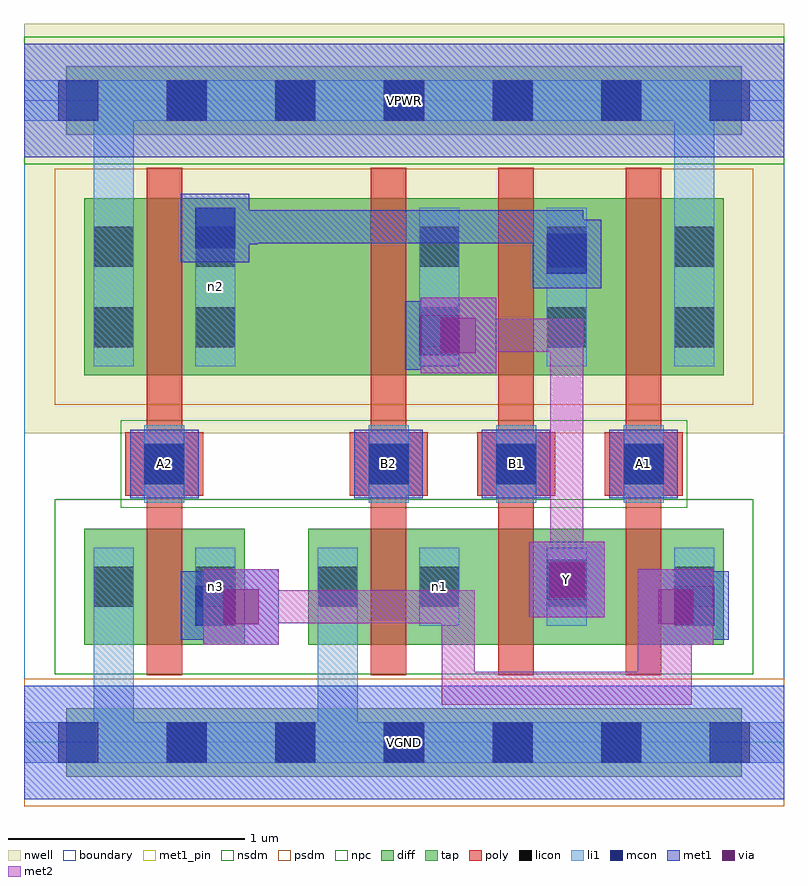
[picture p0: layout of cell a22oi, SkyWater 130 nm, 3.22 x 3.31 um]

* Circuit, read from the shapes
.subckt a22oi A1 A2 B1 B2 VGND VPWR Y n1 n2 n3
XM1 n3 A2 VGND VGND sky130_fd_pr__nfet_01v8 w=0.49 l=0.15
XM2 n1 B2 VGND VGND sky130_fd_pr__nfet_01v8 w=0.49 l=0.15
XM3 Y B1 n1 VGND sky130_fd_pr__nfet_01v8 w=0.49 l=0.15
XM4 n3 A1 Y VGND sky130_fd_pr__nfet_01v8 w=0.49 l=0.15
XM5 n2 A2 VPWR VPWR sky130_fd_pr__pfet_01v8 w=0.75 l=0.15
XM6 Y B2 n2 VPWR sky130_fd_pr__pfet_01v8 w=0.75 l=0.15
XM7 n2 B1 Y VPWR sky130_fd_pr__pfet_01v8 w=0.75 l=0.15
XM8 VPWR A1 n2 VPWR sky130_fd_pr__pfet_01v8 w=0.75 l=0.15
.ends

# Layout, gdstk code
import gdstk
lib = gdstk.Library(unit=1e-6, precision=1e-09)
def R(c, l, rs):  # rectangles x0, y0, x1, y1
    for r in rs: c.add(gdstk.rectangle(r[:2], r[2:], *l))
def A(c, l, x, y, w, h, nx, ny, dx, dy):  # array of equal rectangles
    R(c, l, [(x+i*dx, y+j*dy, x+i*dx+w, y+j*dy+h) for i in range(nx) for j in range(ny)])
nwell = (64, 20)
diff = (65, 20)
tap = (65, 44)
poly = (66, 20)
licon = (66, 44)
li1 = (67, 20)
mcon = (67, 44)
met1_pin = (68, 16)
met1 = (68, 20)
via = (68, 44)
met2 = (69, 20)
nsdm = (93, 44)
psdm = (94, 20)
npc = (95, 20)
boundary = (235, 4)

a22oi = lib.new_cell('a22oi')
R(a22oi, nwell, [(0,1.31,3.22,3.045)])
R(a22oi, diff, [(0.255,0.415,0.935,0.905), (1.205,0.415,2.965,0.905), (0.255,1.555,2.965,2.305)])
R(a22oi, tap, [(0.18,-0.145,3.04,0.145), (0.18,2.575,3.04,2.865)])
A(a22oi, poly, 1.47, 0.285, 0.15, 2.15, 3, 1, 0.54, 0)
A(a22oi, poly, 1.38, 1.045, 0.33, 0.27, 3, 1, 0.54, 0)
R(a22oi, poly, [(0.52,0.285,0.67,2.435), (0.43,1.045,0.76,1.315)])
A(a22oi, licon, 0.605, -0.085, 0.17, 0.17, 5, 2, 0.46, 2.72)
A(a22oi, licon, 1.675, 0.575, 0.17, 0.17, 3, 2, 0.54, 1.1)
A(a22oi, licon, 1.46, 1.095, 0.17, 0.17, 3, 1, 0.54, 0)
A(a22oi, licon, 1.675, 2.015, 0.17, 0.17, 3, 1, 0.54, 0)
R(a22oi, licon, [(0.295,0.575,0.465,0.745), (0.725,0.575,0.895,0.745), (1.245,0.575,1.415,0.745), (0.51,1.095,0.68,1.265), (0.295,1.675,0.465,1.845), (0.725,1.675,0.895,1.845), (0.295,2.015,0.465,2.185), (0.725,2.015,0.895,2.185)])
A(a22oi, li1, 1.675, 0.495, 0.17, 0.33, 3, 1, 0.54, 0)
A(a22oi, li1, 1.46, 1.015, 0.17, 0.33, 3, 1, 0.54, 0)
A(a22oi, li1, 1.675, 1.595, 0.17, 0.67, 3, 1, 0.54, 0)
R(a22oi, li1, [(0,-0.085,3.22,0.085), (0.295,-0.085,0.465,0.825), (1.245,-0.085,1.415,0.825), (0.295,0.495,0.465,0.825), (0.725,0.495,0.895,0.825), (1.245,0.495,1.415,0.825), (0.51,1.015,0.68,1.345), (0.295,1.595,0.465,2.265), (0.295,1.595,0.465,2.805), (0.725,1.595,0.895,2.265), (2.755,1.595,2.925,2.805), (0,2.635,3.22,2.805)])
A(a22oi, mcon, 0.145, -0.085, 0.17, 0.17, 7, 2, 0.46, 2.72)
A(a22oi, mcon, 1.46, 1.095, 0.17, 0.17, 3, 1, 0.54, 0)
R(a22oi, mcon, [(0.725,0.495,0.895,0.665), (2.755,0.495,2.925,0.665), (2.215,0.605,2.385,0.775), (0.51,1.095,0.68,1.265), (1.675,1.64,1.845,1.81), (2.215,1.985,2.385,2.155), (0.725,2.095,0.895,2.265)])
A(a22oi, met1_pin, 1.4, 1.035, 0.29, 0.29, 3, 1, 0.54, 0)
R(a22oi, met1_pin, [(0,-0.24,3.22,0.24), (2.14,0.53,2.46,0.85), (0.45,1.035,0.74,1.325), (0,2.48,3.22,2.96)])
A(a22oi, met1, 1.4, 1.035, 0.29, 0.29, 3, 1, 0.54, 0)
R(a22oi, met1, [(0,-0.24,3.22,0.24), (0.76,0.415,1.08,0.735), (2.6,0.415,2.92,0.735), (0.665,0.435,0.955,0.725), (2.695,0.435,2.985,0.725), (0.85,0.505,0.99,0.65), (2.69,0.505,2.83,0.65), (0.74,0.51,0.99,0.65), (2.69,0.51,2.91,0.65), (2.14,0.53,2.46,0.85), (2.155,0.545,2.445,0.835), (0.45,1.035,0.74,1.325), (1.68,1.565,2,1.885), (1.615,1.58,1.905,1.87), (1.69,1.655,1.91,1.795), (2.155,1.925,2.445,2.215), (2.23,2,2.37,2.255), (0.665,2.035,0.955,2.325), (0.74,2.11,0.99,2.25), (0.85,2.11,0.99,2.255), (0.85,2.115,2.37,2.255), (0,2.48,3.22,2.96)])
R(a22oi, via, [(0.845,0.5,0.995,0.65), (2.685,0.5,2.835,0.65), (2.225,0.615,2.375,0.765), (1.765,1.65,1.915,1.8)])
R(a22oi, met2, [(1.77,0.16,2.83,0.3), (1.77,0.16,1.91,0.645), (2.69,0.16,2.83,0.645), (2.6,0.3,2.83,0.415), (0.76,0.415,1.08,0.735), (2.6,0.415,2.92,0.735), (0.85,0.505,1.91,0.645), (2.14,0.53,2.46,0.85), (2.23,0.62,2.37,1.795), (1.68,1.565,2,1.885), (1.77,1.655,2.37,1.795)])
R(a22oi, nsdm, [(0.13,0.29,3.09,1.03), (0,2.45,3.22,2.99)])
R(a22oi, psdm, [(0,-0.27,3.22,0.27), (0.13,1.43,3.09,2.43)])
R(a22oi, npc, [(0.41,0.995,2.81,1.365)])
R(a22oi, boundary, [(0,0,3.22,2.72)])
a22oi.add(gdstk.Label('n2', (0.81,1.93), layer=67, texttype=5))
a22oi.add(gdstk.Label('n3', (0.81,0.66), layer=67, texttype=5))
a22oi.add(gdstk.Label('n1', (1.76,0.66), layer=67, texttype=5))
a22oi.add(gdstk.Label('A1', (2.625,1.18), layer=68, texttype=5))
a22oi.add(gdstk.Label('A2', (0.595,1.18), layer=68, texttype=5))
a22oi.add(gdstk.Label('B1', (2.085,1.18), layer=68, texttype=5))
a22oi.add(gdstk.Label('B2', (1.545,1.18), layer=68, texttype=5))
a22oi.add(gdstk.Label('Y', (2.3,0.69), layer=68, texttype=5))
a22oi.add(gdstk.Label('VPWR', (1.61,2.72), layer=68, texttype=5))
a22oi.add(gdstk.Label('VGND', (1.61,0), layer=68, texttype=5))
a22oi.add(gdstk.Label('A1', (2.625,1.18), layer=68, texttype=16))
a22oi.add(gdstk.Label('A2', (0.595,1.18), layer=68, texttype=16))
a22oi.add(gdstk.Label('B1', (2.085,1.18), layer=68, texttype=16))
a22oi.add(gdstk.Label('B2', (1.545,1.18), layer=68, texttype=16))
a22oi.add(gdstk.Label('Y', (2.3,0.69), layer=68, texttype=16))
a22oi.add(gdstk.Label('VPWR', (1.61,2.72), layer=68, texttype=16))
a22oi.add(gdstk.Label('VGND', (1.61,0), layer=68, texttype=16))

lib.write_gds('a22oi.gds')
